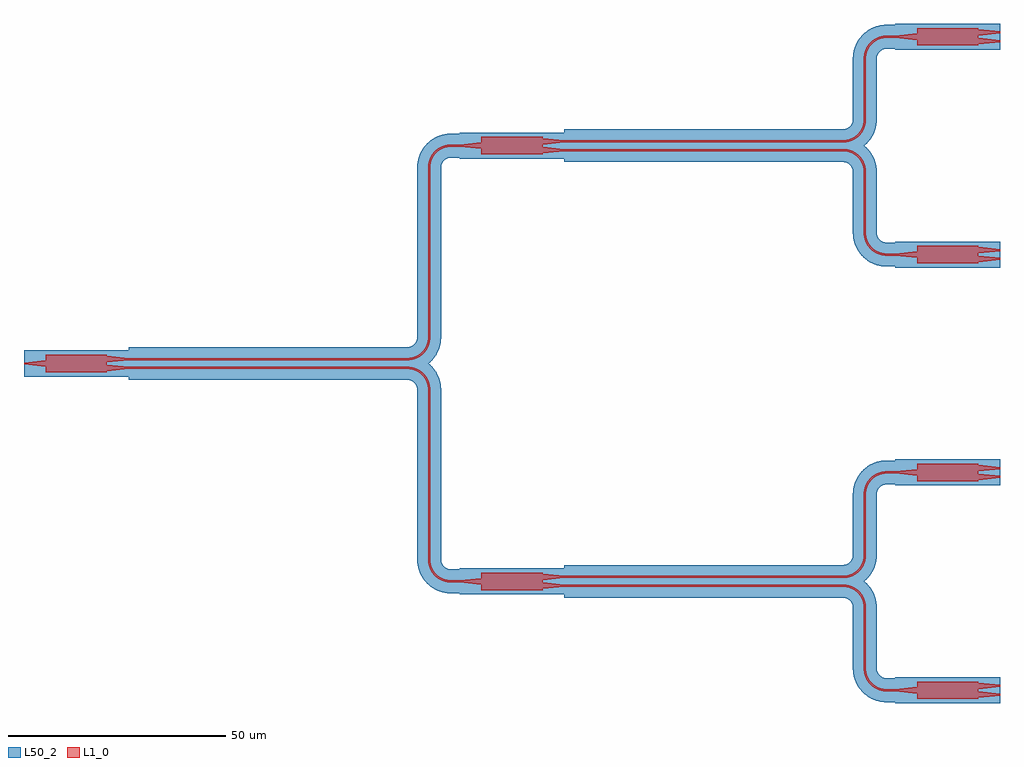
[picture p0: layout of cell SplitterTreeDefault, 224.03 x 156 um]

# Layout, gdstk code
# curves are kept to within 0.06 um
import gdstk
lib = gdstk.Library(unit=1e-6, precision=1e-09)
def R(c, l, rs):  # rectangles x0, y0, x1, y1
    for r in rs: c.add(gdstk.rectangle(r[:2], r[2:], *l))
def P(c, l, *ps):  # polygons
    for p in ps: c.add(gdstk.Polygon(p, *l))
L1_0 = (1, 0)
L50_2 = (50, 2)

mmi_1x2_optimized_1550 = lib.new_cell('MMI_1X2_OPTIMIZED_1550')
R(mmi_1x2_optimized_1550, L1_0, [(0,-2,14.026,2)])
P(mmi_1x2_optimized_1550, L1_0, [(-5,-0.225),(-5,0.225),(0,0.75),(0,-0.75)],
  [(14.026,0.254),(14.026,1.754),(19.026,1.229),(19.026,0.779)],
  [(14.026,-1.754),(14.026,-0.254),(19.026,-0.779),(19.026,-1.229)])
R(mmi_1x2_optimized_1550, L50_2, [(-5,-3,19.026,3)])

splittertreedefault_sp_0 = lib.new_cell('SplitterTreeDefault_sp_0_0_out1_to_sp_1_0_in1')
P(splittertreedefault_sp_0, L1_0, [(19.026,-1.229),(82.999,-1.229),(83.657,-1.274),(84.381,-1.433),(84.997,-1.667),(85.575,-1.983),(86.463,-2.716),(87.108,-3.569),(87.571,-4.623),(87.769,-5.757),(87.775,-45.001),(87.869,-45.986),(88.181,-47.02),(88.752,-48.042),(89.468,-48.851),(90.336,-49.495),(91.232,-49.917),(92.192,-50.162),(92.82,-50.222),(95,-50.225),(95,-49.775),(92.835,-49.772),(92.18,-49.704),(91.307,-49.465),(90.425,-49.021),(89.712,-48.463),(89.07,-47.713),(88.596,-46.846),(88.311,-45.901),(88.225,-44.999),(88.213,-5.644),(88.002,-4.493),(87.495,-3.34),(86.789,-2.406),(85.818,-1.604),(85.185,-1.258),(84.511,-1.002),(83.808,-0.842),(83.001,-0.779),(19.026,-0.779)])
P(splittertreedefault_sp_0, L50_2, [(19.026,-3.729),(83.039,-3.729),(83.658,-3.826),(84.227,-4.088),(84.65,-4.438),(84.977,-4.878),(85.189,-5.384),(85.274,-5.925),(85.275,-45.012),(85.44,-46.589),(85.928,-48.11),(86.642,-49.388),(87.681,-50.602),(88.834,-51.505),(90.136,-52.175),(91.542,-52.586),(92.6,-52.715),(95,-52.725),(95,-47.275),(92.882,-47.272),(92.048,-47.066),(91.582,-46.779),(91.197,-46.387),(90.902,-45.88),(90.752,-45.352),(90.707,-5.471),(90.395,-3.769),(89.645,-2.065),(88.602,-0.685),(87.166,0.501),(86.231,1.013),(85.235,1.391),(84.195,1.628),(83.133,1.72),(19.026,1.721)])

c_splittertreedefault_sp_0 = lib.new_cell('SplitterTreeDefault_sp_0_0_out2_to_sp_1_1_in1')
P(c_splittertreedefault_sp_0, L1_0, [(19.026,0.779),(83.09,0.78),(83.808,0.842),(84.511,1.002),(85.185,1.258),(85.818,1.604),(86.789,2.406),(87.495,3.34),(88.002,4.493),(88.213,5.644),(88.225,44.999),(88.311,45.901),(88.596,46.846),(89.07,47.713),(89.712,48.463),(90.425,49.021),(91.307,49.465),(92.18,49.704),(92.835,49.772),(95,49.775),(95,50.225),(92.82,50.222),(92.192,50.162),(91.232,49.917),(90.336,49.495),(89.468,48.851),(88.752,48.042),(88.181,47.02),(87.869,45.986),(87.775,45.001),(87.769,5.757),(87.571,4.623),(87.108,3.569),(86.463,2.716),(85.575,1.983),(84.997,1.667),(84.381,1.433),(83.657,1.274),(83.082,1.23),(19.026,1.229)])
P(c_splittertreedefault_sp_0, L50_2, [(19.026,-1.721),(83.133,-1.72),(84.195,-1.628),(85.362,-1.351),(86.471,-0.897),(87.497,-0.277),(88.782,0.881),(89.777,2.296),(90.395,3.769),(90.707,5.471),(90.752,45.352),(90.902,45.88),(91.197,46.387),(91.582,46.779),(92.048,47.066),(92.882,47.272),(95,47.275),(95,52.725),(92.6,52.715),(91.542,52.586),(90.136,52.175),(88.834,51.505),(87.681,50.602),(86.642,49.388),(85.928,48.11),(85.44,46.589),(85.275,45.012),(85.274,5.925),(85.189,5.384),(84.996,4.912),(84.324,4.154),(83.733,3.85),(83.039,3.729),(19.026,3.729)])

splittertreedefault_sp_1 = lib.new_cell('SplitterTreeDefault_sp_1_0_out1_to_sp_2_0_in1')
P(splittertreedefault_sp_1, L1_0, [(119.026,-51.229),(182.999,-51.229),(183.657,-51.274),(184.381,-51.433),(185.505,-51.939),(186.041,-52.323),(186.519,-52.776),(186.93,-53.291),(187.266,-53.858),(187.52,-54.466),(187.689,-55.103),(187.775,-56.005),(187.778,-70.18),(187.906,-71.163),(188.217,-72.103),(188.649,-72.893),(189.274,-73.663),(189.958,-74.248),(190.815,-74.746),(191.575,-75.027),(192.37,-75.187),(195,-75.225),(195,-74.775),(192.343,-74.73),(191.54,-74.546),(190.781,-74.228),(190.153,-73.834),(189.481,-73.228),(188.979,-72.575),(188.596,-71.846),(188.327,-70.982),(188.228,-70.165),(188.225,-56.003),(188.131,-55.018),(187.708,-53.737),(187.351,-53.111),(186.911,-52.539),(186.397,-52.034),(185.818,-51.604),(184.597,-51.029),(183.808,-50.842),(183.001,-50.779),(119.026,-50.779)])
P(splittertreedefault_sp_1, L50_2, [(119.026,-53.729),(183.039,-53.729),(183.696,-53.838),(184.26,-54.11),(184.754,-54.555),(185.098,-55.124),(185.263,-55.769),(185.285,-70.4),(185.499,-71.849),(186.04,-73.352),(186.642,-74.388),(187.491,-75.415),(188.503,-76.281),(189.648,-76.96),(190.765,-77.395),(191.937,-77.652),(195,-77.725),(195,-72.275),(192.882,-72.272),(192.12,-72.098),(191.676,-71.85),(191.246,-71.449),(190.95,-70.987),(190.766,-70.429),(190.724,-55.871),(190.632,-54.809),(190.355,-53.642),(189.645,-52.065),(188.509,-50.589),(187.053,-49.428),(185.362,-48.649),(184.195,-48.372),(183.012,-48.279),(119.026,-48.279)])

c_splittertreedefault_sp_1 = lib.new_cell('SplitterTreeDefault_sp_1_0_out2_to_sp_2_1_in1')
P(c_splittertreedefault_sp_1, L1_0, [(119.026,-49.221),(183.001,-49.221),(183.808,-49.158),(184.597,-48.971),(185.818,-48.396),(186.397,-47.966),(186.911,-47.461),(187.351,-46.889),(187.708,-46.263),(188.131,-44.982),(188.225,-43.997),(188.228,-29.835),(188.327,-29.018),(188.596,-28.154),(188.979,-27.425),(189.481,-26.772),(190.088,-26.216),(190.781,-25.772),(191.54,-25.454),(192.343,-25.27),(195,-25.225),(195,-24.775),(192.37,-24.813),(191.575,-24.973),(190.815,-25.254),(189.958,-25.752),(189.274,-26.337),(188.649,-27.107),(188.217,-27.897),(187.906,-28.837),(187.778,-29.82),(187.775,-43.995),(187.704,-44.816),(187.546,-45.456),(187.302,-46.068),(186.628,-47.1),(186.166,-47.57),(185.644,-47.972),(185.072,-48.298),(184.46,-48.542),(183.657,-48.726),(182.999,-48.771),(119.026,-48.771)])
P(c_splittertreedefault_sp_1, L50_2, [(119.026,-51.721),(183.012,-51.721),(184.458,-51.582),(185.864,-51.171),(187.388,-50.354),(188.693,-49.218),(189.712,-47.82),(190.355,-46.358),(190.632,-45.191),(190.724,-44.129),(190.766,-29.571),(190.95,-29.013),(191.246,-28.551),(191.676,-28.15),(192.12,-27.902),(192.882,-27.728),(195,-27.725),(195,-22.275),(191.937,-22.348),(190.765,-22.605),(189.529,-23.099),(188.395,-23.798),(187.398,-24.681),(186.642,-25.612),(185.983,-26.769),(185.499,-28.151),(185.285,-29.6),(185.263,-44.231),(185.113,-44.839),(184.803,-45.383),(184.324,-45.846),(183.807,-46.123),(183.039,-46.271),(119.026,-46.271)])

c_splittertreedefault_sp_1_ = lib.new_cell('SplitterTreeDefault_sp_1_1_out1_to_sp_2_2_in1')
P(c_splittertreedefault_sp_1_, L1_0, [(119.026,48.771),(182.999,48.771),(183.657,48.726),(184.381,48.567),(185.505,48.061),(186.041,47.677),(186.519,47.224),(186.93,46.709),(187.266,46.142),(187.52,45.534),(187.689,44.897),(187.775,43.995),(187.778,29.82),(187.906,28.837),(188.217,27.897),(188.649,27.107),(189.274,26.337),(189.958,25.752),(190.815,25.254),(191.575,24.973),(192.37,24.813),(195,24.775),(195,25.225),(192.343,25.27),(191.54,25.454),(190.781,25.772),(190.153,26.166),(189.481,26.772),(188.979,27.425),(188.596,28.154),(188.327,29.018),(188.228,29.835),(188.225,43.997),(188.131,44.982),(187.708,46.263),(187.351,46.889),(186.911,47.461),(186.397,47.966),(185.818,48.396),(184.597,48.971),(183.808,49.158),(183.001,49.221),(119.026,49.221)])
P(c_splittertreedefault_sp_1_, L50_2, [(119.026,46.271),(183.039,46.271),(183.696,46.162),(184.26,45.89),(184.754,45.445),(185.098,44.876),(185.263,44.231),(185.285,29.6),(185.499,28.151),(186.04,26.648),(186.642,25.612),(187.491,24.585),(188.503,23.719),(189.648,23.04),(190.765,22.605),(191.937,22.348),(195,22.275),(195,27.725),(192.882,27.728),(192.12,27.902),(191.676,28.15),(191.246,28.551),(190.95,29.013),(190.766,29.571),(190.724,44.129),(190.632,45.191),(190.355,46.358),(189.645,47.935),(188.509,49.411),(187.053,50.572),(185.362,51.351),(184.195,51.628),(183.012,51.721),(119.026,51.721)])

c_splittertreedefault_sp_1__ = lib.new_cell('SplitterTreeDefault_sp_1_1_out2_to_sp_2_3_in1')
P(c_splittertreedefault_sp_1__, L1_0, [(119.026,50.779),(183.001,50.779),(183.808,50.842),(184.597,51.029),(185.818,51.604),(186.397,52.034),(186.911,52.539),(187.351,53.111),(187.708,53.737),(188.131,55.018),(188.225,56.003),(188.228,70.165),(188.327,70.982),(188.596,71.846),(188.979,72.575),(189.481,73.228),(190.088,73.784),(190.781,74.228),(191.54,74.546),(192.343,74.73),(195,74.775),(195,75.225),(192.37,75.187),(191.575,75.027),(190.815,74.746),(189.958,74.248),(189.274,73.663),(188.649,72.893),(188.217,72.103),(187.906,71.163),(187.778,70.18),(187.775,56.005),(187.704,55.184),(187.546,54.544),(187.302,53.932),(186.628,52.9),(186.166,52.43),(185.644,52.028),(185.072,51.702),(184.46,51.458),(183.657,51.274),(182.999,51.229),(119.026,51.229)])
P(c_splittertreedefault_sp_1__, L50_2, [(119.026,48.279),(183.012,48.279),(184.458,48.418),(185.864,48.829),(187.388,49.646),(188.693,50.782),(189.712,52.18),(190.355,53.642),(190.632,54.809),(190.724,55.871),(190.766,70.429),(190.95,70.987),(191.246,71.449),(191.676,71.85),(192.12,72.098),(192.882,72.272),(195,72.275),(195,77.725),(191.937,77.652),(190.765,77.395),(189.529,76.901),(188.395,76.202),(187.398,75.319),(186.642,74.388),(185.983,73.231),(185.499,71.849),(185.285,70.4),(185.263,55.769),(185.113,55.161),(184.803,54.617),(184.324,54.154),(183.807,53.877),(183.039,53.729),(119.026,53.729)])

splittertreedefault = lib.new_cell('SplitterTreeDefault')
splittertreedefault.add(gdstk.Reference(mmi_1x2_optimized_1550, (0,0)))
splittertreedefault.add(gdstk.Reference(mmi_1x2_optimized_1550, (100,-50)))
splittertreedefault.add(gdstk.Reference(mmi_1x2_optimized_1550, (100,50)))
splittertreedefault.add(gdstk.Reference(mmi_1x2_optimized_1550, (200,-75)))
splittertreedefault.add(gdstk.Reference(mmi_1x2_optimized_1550, (200,-25)))
splittertreedefault.add(gdstk.Reference(mmi_1x2_optimized_1550, (200,25)))
splittertreedefault.add(gdstk.Reference(mmi_1x2_optimized_1550, (200,75)))
splittertreedefault.add(gdstk.Reference(splittertreedefault_sp_0, (0,0)))
splittertreedefault.add(gdstk.Reference(c_splittertreedefault_sp_0, (0,0)))
splittertreedefault.add(gdstk.Reference(splittertreedefault_sp_1, (0,0)))
splittertreedefault.add(gdstk.Reference(c_splittertreedefault_sp_1, (0,0)))
splittertreedefault.add(gdstk.Reference(c_splittertreedefault_sp_1_, (0,0)))
splittertreedefault.add(gdstk.Reference(c_splittertreedefault_sp_1__, (0,0)))

lib.write_gds('SplitterTreeDefault.gds')
